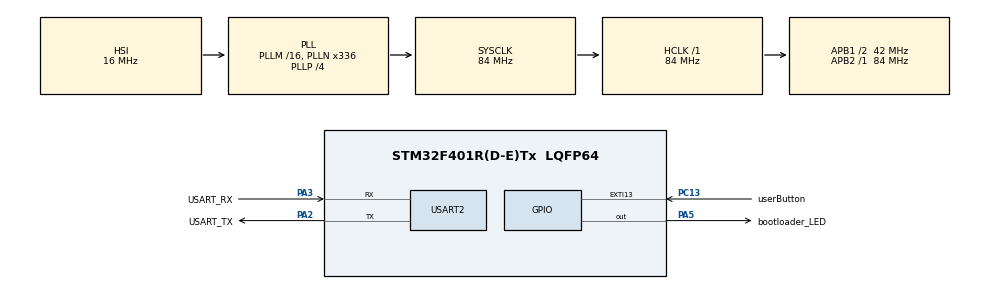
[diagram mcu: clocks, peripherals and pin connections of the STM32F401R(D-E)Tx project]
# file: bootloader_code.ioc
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Mcu.Family=STM32F4
Mcu.Name=STM32F401R(D-E)Tx
Mcu.Package=LQFP64
NVIC.EXTI15_10_IRQn=true\:0\:0\:false\:false\:true\:true\:true\:true
NVIC.PriorityGroup=NVIC_PRIORITYGROUP_0
NVIC.USART2_IRQn=true\:0\:0\:false\:false\:true\:true\:true\:true
PA13.GPIO_Label=TMS
PA13.Signal=SYS_JTMS-SWDIO
PA14.GPIO_Label=TCK
PA14.Signal=SYS_JTCK-SWCLK
PA2.GPIO_Label=USART_TX
PA2.GPIO_Mode=GPIO_MODE_AF_PP
PA2.GPIO_PuPd=GPIO_NOPULL
PA2.GPIO_Speed=GPIO_SPEED_FREQ_LOW
PA2.Mode=Asynchronous
PA2.Signal=USART2_TX
PA3.GPIO_Label=USART_RX
PA3.GPIO_Mode=GPIO_MODE_AF_PP
PA3.GPIO_PuPd=GPIO_NOPULL
PA3.GPIO_Speed=GPIO_SPEED_FREQ_LOW
PA3.Mode=Asynchronous
PA3.Signal=USART2_RX
PA5.GPIO_Label=bootloader_LED
PA5.GPIO_Mode=GPIO_MODE_OUTPUT_PP
PA5.GPIO_PuPd=GPIO_NOPULL
PA5.GPIO_Speed=GPIO_SPEED_FREQ_LOW
PA5.Signal=GPIO_Output
PB3.GPIO_Label=SWO
PB3.Signal=SYS_JTDO-SWO
PC13-ANTI_TAMP.GPIO_Label=userButton
PC13-ANTI_TAMP.Signal=GPXTI13
PC14-OSC32_IN.Signal=RCC_OSC32_IN
PC15-OSC32_OUT.Signal=RCC_OSC32_OUT
PH0\ -\ OSC_IN.Signal=RCC_OSC_IN
PH1\ -\ OSC_OUT.Signal=RCC_OSC_OUT
ProjectManager.HeapSize=0x200
ProjectManager.StackSize=0x400
ProjectManager.TargetToolchain=STM32CubeIDE
RCC.AHBFreq_Value=84000000
RCC.APB1CLKDivider=RCC_HCLK_DIV2
RCC.APB1Freq_Value=42000000
RCC.APB1TimFreq_Value=84000000
RCC.APB2Freq_Value=84000000
RCC.APB2TimFreq_Value=84000000
RCC.CortexFreq_Value=84000000
RCC.HCLKFreq_Value=84000000
RCC.HSE_VALUE=8000000
RCC.HSI_VALUE=16000000
RCC.LSE_VALUE=32768
RCC.PLLN=336
RCC.PLLP=RCC_PLLP_DIV4
RCC.PLLQ=7
RCC.SYSCLKFreq_VALUE=84000000
RCC.SYSCLKSource=RCC_SYSCLKSOURCE_PLLCLK
RCC.VCOOutputFreq_Value=336000000
USART2.VirtualMode=VM_ASYNC
board=NUCLEO-F401RE

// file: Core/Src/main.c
/* USER CODE BEGIN Header */
/**
  ******************************************************************************
  * @file           : main.c
  * @brief          : Main program body
  ******************************************************************************
  * @attention
  *
  * Copyright (c) 2023 STMicroelectronics.
  * All rights reserved.
  *
  * This software is licensed under terms that can be found in the LICENSE file
  * in the root directory of this software component.
  * If no LICENSE file comes with this software, it is provided AS-IS.
  *
  ******************************************************************************
  */
/* USER CODE END Header */
#include "main.h"

/* USER CODE BEGIN Includes */
#include "stdio.h"

/* USER CODE END Includes */

/* USER CODE BEGIN PM */
#define MAJOR 0 //bootloader major version number
#define MINOR 1 //bootloader minor version number
/* USER CODE END PM */

UART_HandleTypeDef huart2;

/* USER CODE BEGIN PV */
const uint8_t BLVersion[2]={MAJOR, MINOR};
/* USER CODE END PV */

void SystemClock_Config(void);
static void MX_GPIO_Init(void);
static void MX_USART2_UART_Init(void);
/* USER CODE BEGIN PFP */
int _write(int file, char *ptr, int len){
    HAL_UART_Transmit(&huart2,(uint8_t*) ptr, len, HAL_MAX_DELAY);
    return len;
}

/* USER CODE END PFP */

/* USER CODE BEGIN 0 */
static void gotoApplication(void)
{
	printf("Gonna jump to Application\n\r");
	void (* app_reset_handler)(void) = (void*) ( *(volatile uint32_t *)(0x08010000+4));//application reset handler address
	HAL_GPIO_WritePin(bootloader_LED_GPIO_Port, bootloader_LED_Pin, GPIO_PIN_RESET);
	app_reset_handler(); //call the app reset handler
}
/* USER CODE END 0 */

int main(void)
{

  /* MCU Configuration--------------------------------------------------------*/

  /* Reset of all peripherals, Initializes the Flash interface and the Systick. */
  HAL_Init();

  /* Configure the system clock */
  SystemClock_Config();

  /* Initialize all configured peripherals */
  MX_GPIO_Init();
  MX_USART2_UART_Init();
  /* USER CODE BEGIN 2 */
  printf("Starting Bootloader (%d.%d)\n\r", BLVersion[0], BLVersion[1]);
  HAL_GPIO_WritePin(bootloader_LED_GPIO_Port, bootloader_LED_Pin, GPIO_PIN_SET);
  HAL_Delay(30000);
  gotoApplication();
  /* USER CODE END 2 */

  /* Infinite loop */
  while (1)
  {

  }
}

void SystemClock_Config(void)
{
  RCC_OscInitTypeDef RCC_OscInitStruct = {0};
  RCC_ClkInitTypeDef RCC_ClkInitStruct = {0};

  /** Configure the main internal regulator output voltage
  */
  __HAL_RCC_PWR_CLK_ENABLE();
  __HAL_PWR_VOLTAGESCALING_CONFIG(PWR_REGULATOR_VOLTAGE_SCALE2);

  /** Initializes the RCC Oscillators according to the specified parameters
  * in the RCC_OscInitTypeDef structure.
  */
  RCC_OscInitStruct.OscillatorType = RCC_OSCILLATORTYPE_HSI;
  RCC_OscInitStruct.HSIState = RCC_HSI_ON;
  RCC_OscInitStruct.HSICalibrationValue = RCC_HSICALIBRATION_DEFAULT;
  RCC_OscInitStruct.PLL.PLLState = RCC_PLL_ON;
  RCC_OscInitStruct.PLL.PLLSource = RCC_PLLSOURCE_HSI;
  RCC_OscInitStruct.PLL.PLLM = 16;
  RCC_OscInitStruct.PLL.PLLN = 336;
  RCC_OscInitStruct.PLL.PLLP = RCC_PLLP_DIV4;
  RCC_OscInitStruct.PLL.PLLQ = 7;
  if (HAL_RCC_OscConfig(&RCC_OscInitStruct) != HAL_OK)
  {
    Error_Handler();
  }

  /** Initializes the CPU, AHB and APB buses clocks
  */
  RCC_ClkInitStruct.ClockType = RCC_CLOCKTYPE_HCLK|RCC_CLOCKTYPE_SYSCLK
                              |RCC_CLOCKTYPE_PCLK1|RCC_CLOCKTYPE_PCLK2;
  RCC_ClkInitStruct.SYSCLKSource = RCC_SYSCLKSOURCE_PLLCLK;
  RCC_ClkInitStruct.AHBCLKDivider = RCC_SYSCLK_DIV1;
  RCC_ClkInitStruct.APB1CLKDivider = RCC_HCLK_DIV2;
  RCC_ClkInitStruct.APB2CLKDivider = RCC_HCLK_DIV1;

  if (HAL_RCC_ClockConfig(&RCC_ClkInitStruct, FLASH_LATENCY_2) != HAL_OK)
  {
    Error_Handler();
  }
}

static void MX_USART2_UART_Init(void)
{

  huart2.Instance = USART2;
  huart2.Init.BaudRate = 115200;
  huart2.Init.WordLength = UART_WORDLENGTH_8B;
  huart2.Init.StopBits = UART_STOPBITS_1;
  huart2.Init.Parity = UART_PARITY_NONE;
  huart2.Init.Mode = UART_MODE_TX_RX;
  huart2.Init.HwFlowCtl = UART_HWCONTROL_NONE;
  huart2.Init.OverSampling = UART_OVERSAMPLING_16;
  if (HAL_UART_Init(&huart2) != HAL_OK)
  {
    Error_Handler();
  }

}

static void MX_GPIO_Init(void)
{
  GPIO_InitTypeDef GPIO_InitStruct = {0};

  /* GPIO Ports Clock Enable */
  __HAL_RCC_GPIOC_CLK_ENABLE();
  __HAL_RCC_GPIOH_CLK_ENABLE();
  __HAL_RCC_GPIOA_CLK_ENABLE();
  __HAL_RCC_GPIOB_CLK_ENABLE();

  /*Configure GPIO pin Output Level */
  HAL_GPIO_WritePin(bootloader_LED_GPIO_Port, bootloader_LED_Pin, GPIO_PIN_RESET);

  /*Configure GPIO pin : userButton_Pin */
  GPIO_InitStruct.Pin = userButton_Pin;
  GPIO_InitStruct.Mode = GPIO_MODE_IT_RISING;
  GPIO_InitStruct.Pull = GPIO_NOPULL;
  HAL_GPIO_Init(userButton_GPIO_Port, &GPIO_InitStruct);

  /*Configure GPIO pin : bootloader_LED_Pin */
  GPIO_InitStruct.Pin = bootloader_LED_Pin;
  GPIO_InitStruct.Mode = GPIO_MODE_OUTPUT_PP;
  GPIO_InitStruct.Pull = GPIO_NOPULL;
  GPIO_InitStruct.Speed = GPIO_SPEED_FREQ_LOW;
  HAL_GPIO_Init(bootloader_LED_GPIO_Port, &GPIO_InitStruct);

  /* EXTI interrupt init*/
  HAL_NVIC_SetPriority(EXTI15_10_IRQn, 0, 0);
  HAL_NVIC_EnableIRQ(EXTI15_10_IRQn);

}

/* USER CODE BEGIN 4 */
void HAL_GPIO_EXTI_Callback(uint16_t GPIO_Pin)
{
	printf("USER BUTTON pressed from BOOTLOADER ISR\n\r");
}
/* USER CODE END 4 */

void Error_Handler(void)
{
  __disable_irq();
  while (1)
  {
  }
}
